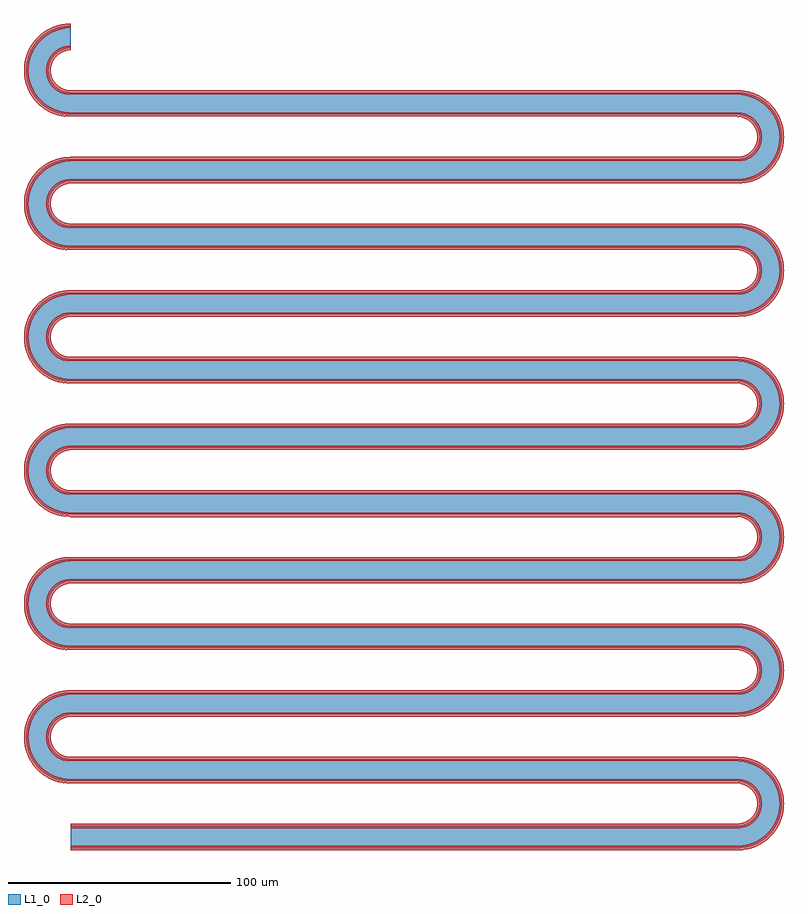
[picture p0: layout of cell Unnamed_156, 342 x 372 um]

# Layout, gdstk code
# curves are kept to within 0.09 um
import gdstk
lib = gdstk.Library(unit=1e-6, precision=1e-09)
def P(c, l, *ps):  # polygons
    for p in ps: c.add(gdstk.Polygon(p, *l))
L1_0 = (1, 0)
L2_0 = (2, 0)

unnamed_156 = lib.new_cell('Unnamed_156')
P(unnamed_156, L1_0, [(0,-5),(0,5),(300.754,5.028),(302.672,5.363),(304.572,6.106),(306.184,7.141),(307.569,8.464),(308.692,10.055),(309.505,11.892),(309.931,13.823),(309.973,15.738),(309.641,17.656),(309.013,19.333),(308.059,20.921),(306.851,22.285),(305.39,23.423),(303.714,24.285),(301.937,24.811),(300.22,24.998),(-0.126,25),(-3.007,25.227),(-6.485,26.08),(-9.534,27.418),(-12.368,29.282),(-14.804,31.552),(-16.864,34.247),(-18.463,37.31),(-19.497,40.541),(-19.97,43.9),(-19.876,47.228),(-19.178,50.676),(-17.915,53.892),(-16.08,56.893),(-13.884,59.396),(-11.252,61.535),(-8.238,63.225),(-5.04,64.355),(-2.634,64.826),(-0.126,65),(300.409,65.008),(302.428,65.299),(304.347,65.994),(306.06,67.045),(307.569,68.464),(308.738,70.137),(309.534,71.982),(309.945,73.948),(309.945,76.052),(309.607,77.778),(308.971,79.418),(308.059,80.921),(306.851,82.285),(305.469,83.372),(303.917,84.201),(302.184,84.759),(300.409,84.992),(-0.126,85),(-2.634,85.174),(-5.04,85.645),(-7.37,86.407),(-9.666,87.491),(315.62,87.491),(316.83,85.806),(317.859,84.004),(318.673,82.164),(319.331,80.131),(319.787,77.914),(319.985,75.786),(319.95,73.586),(319.718,71.651),(319.248,69.566),(318.511,67.426),(317.597,65.494),(316.482,63.671),(315.096,61.881),(313.564,60.302),(311.817,58.864),(310.082,57.727),(308.238,56.775),(306.246,56),(304.183,55.442),(302.009,55.101),(300.126,55),(-0.22,54.998),(-1.907,54.817),(-3.597,54.331),(-5.122,53.589),(-6.524,52.579),(-7.691,51.392),(-8.692,49.945),(-9.424,48.346),(-9.859,46.675),(-9.99,44.544),(-9.681,42.495),(-8.901,40.442),(-7.751,38.681),(-6.307,37.239),(-4.572,36.106),(-2.672,35.363),(-0.409,35.008),(300.126,35),(303.318,34.723),(306.485,33.92),(309.589,32.552),(312.417,30.679),(314.972,28.261),(316.998,25.54),(318.511,22.574),(319.538,19.275),(319.985,15.786),(319.822,12.335),(319.105,9.083),(317.859,5.996),(316.08,3.107),(313.884,0.604),(311.252,-1.535),(308.295,-3.199),(305.161,-4.323),(302.634,-4.826),(300.126,-5)],
  [(-9.666,87.491),(-12.368,89.282),(-14.634,91.367),(-16.553,93.774),(-18.133,96.562),(-19.248,99.566),(-19.854,102.584),(-19.993,105.535),(-19.663,108.659),(-18.889,111.574),(-17.597,114.506),(-16.005,116.994),(-13.884,119.396),(-11.562,121.32),(-8.807,122.957),(-5.947,124.096),(-3.007,124.773),(-0.126,125),(300.409,125.008),(302.367,125.284),(304.205,125.927),(305.806,126.858),(307.317,128.183),(308.499,129.73),(309.348,131.447),(309.859,133.325),(309.995,135.33),(309.776,137.107),(309.17,138.99),(308.259,140.639),(307.077,142.066),(305.574,143.303),(303.917,144.201),(302.184,144.759),(300.252,144.997),(-0.126,145),(-2.759,145.191),(-5.525,145.778),(-8.238,146.775),(-10.779,148.153),(-13,149.801),(-14.972,151.739),(-16.727,154.036),(-18.133,156.562),(-19.142,159.204),(-19.768,161.961),(-19.999,164.78),(-19.822,167.665),(-19.248,170.434),(-18.289,173.094),(-16.998,175.54),(-15.301,177.88),(-13.237,179.993),(313.221,179.993),(310.352,177.887),(307.252,176.361),(303.937,175.391),(300.314,175.002),(-0.094,175),(-2.276,174.738),(-4.033,174.151),(-5.521,173.338),(-6.851,172.285),(-8.059,170.921),(-9.013,169.333),(-9.607,167.778),(-9.945,166.052),(-9.973,164.262),(-9.697,162.556),(-9.08,160.809),(-8.223,159.309),(-7.077,157.934),(-5.704,156.786),(-4.205,155.927),(-2.459,155.307),(-0.754,155.028),(300.126,155),(302.634,154.826),(304.49,154.49),(306.485,153.92),(309.864,152.399),(311.562,151.32),(313.143,150.076),(315.737,147.343),(316.864,145.753),(317.859,144.004),(318.673,142.164),(319.248,140.434),(319.663,138.659),(319.931,136.665),(319.999,134.78),(319.876,132.772),(319.178,129.324),(317.915,126.108),(316.08,123.107),(313.884,120.604),(311.252,118.465),(308.238,116.775),(305.04,115.645),(301.759,115.077),(-0.409,114.992),(-2.367,114.716),(-4.205,114.073),(-5.806,113.142),(-7.317,111.817),(-8.499,110.27),(-9.348,108.553),(-9.859,106.675),(-9.996,104.701),(-9.776,102.893),(-9.195,101.068),(-8.364,99.518),(-7.209,98.069),(-5.781,96.84),(-4.205,95.927),(-2.428,95.299),(-0.534,95.014),(300.503,94.994),(302.634,94.826),(304.796,94.417),(306.84,93.794),(308.92,92.901),(310.885,91.779),(312.564,90.561),(314.242,89.042),(315.62,87.491)],
  [(-13.237,179.993),(-10.352,182.113),(-7.252,183.639),(-3.937,184.609),(-0.314,184.998),(300.094,185),(302.276,185.262),(304.033,185.849),(305.521,186.662),(306.851,187.715),(308.059,189.079),(309.013,190.667),(309.607,192.222),(309.945,193.948),(309.973,195.738),(309.697,197.444),(309.08,199.191),(308.223,200.691),(307.077,202.066),(305.704,203.214),(304.205,204.073),(302.459,204.693),(300.754,204.972),(-0.126,205),(-2.634,205.174),(-4.49,205.51),(-6.485,206.08),(-9.864,207.601),(-11.562,208.68),(-13.143,209.924),(-15.737,212.657),(-16.864,214.247),(-17.859,215.996),(-18.673,217.836),(-19.248,219.566),(-19.663,221.341),(-19.931,223.335),(-19.999,225.22),(-19.876,227.228),(-19.178,230.676),(-17.915,233.892),(-16.08,236.893),(-13.884,239.396),(-11.252,241.535),(-8.238,243.225),(-5.04,244.355),(-1.759,244.923),(300.409,245.008),(302.367,245.284),(304.205,245.927),(305.806,246.858),(307.317,248.183),(308.499,249.73),(309.348,251.447),(309.859,253.325),(309.996,255.299),(309.776,257.107),(309.195,258.932),(308.364,260.482),(307.209,261.931),(305.781,263.16),(304.205,264.073),(302.428,264.701),(300.534,264.986),(-0.503,265.006),(-2.634,265.174),(-4.796,265.583),(-6.84,266.206),(-8.92,267.099),(-10.885,268.221),(-12.564,269.439),(-14.242,270.958),(-15.605,272.491),(309.699,272.491),(311.562,271.32),(313.143,270.076),(314.634,268.633),(316.005,266.994),(317.129,265.325),(318.133,263.438),(318.889,261.574),(319.454,259.643),(319.822,257.665),(319.993,255.535),(319.941,253.461),(319.663,251.341),(319.178,249.324),(318.463,247.31),(317.476,245.274),(316.338,243.464),(314.972,241.739),(313.564,240.302),(311.817,238.864),(310.082,237.727),(308.238,236.775),(306.246,236),(304.183,235.442),(302.009,235.101),(300.126,235),(-0.22,234.998),(-1.937,234.811),(-3.714,234.285),(-5.39,233.423),(-6.851,232.285),(-8.059,230.921),(-9.013,229.333),(-9.641,227.656),(-9.973,225.738),(-9.931,223.823),(-9.475,221.802),(-8.676,220.027),(-7.507,218.393),(-6.06,217.045),(-4.347,215.994),(-2.428,215.299),(-0.409,215.008),(300.126,215),(302.759,214.809),(305.525,214.222),(308.238,213.225),(310.779,211.847),(313,210.199),(314.972,208.261),(316.727,205.964),(318.133,203.438),(319.142,200.796),(319.768,198.039),(319.999,195.22),(319.822,192.335),(319.248,189.566),(318.238,186.791),(316.864,184.247),(315.178,181.976),(313.221,179.993)],
  [(-15.605,272.491),(-17.129,274.675),(-18.364,277.078),(-19.265,279.626),(-19.796,282.148),(-19.999,284.78),(-19.854,287.416),(-19.363,290.009),(-18.511,292.574),(-17.321,295),(-15.853,297.194),(-14.242,299.042),(-12.219,300.834),(-10.027,302.305),(-7.603,303.499),(-5.04,304.355),(-2.447,304.85),(-0.126,305),(300.22,305.002),(301.937,305.189),(303.714,305.715),(305.23,306.476),(306.666,307.545),(307.888,308.853),(308.843,310.33),(309.534,311.982),(309.907,313.636),(309.973,315.738),(309.607,317.778),(308.843,319.67),(307.671,321.416),(306.184,322.859),(304.347,324.006),(302.428,324.701),(300.409,324.992),(-0.126,325),(-3.318,325.277),(-6.663,326.142),(-9.864,327.601),(-12.856,329.679),(-15.341,332.168),(-17.383,335.109),(-18.889,338.426),(-19.768,341.961),(-19.996,345.409),(-19.603,348.967),(-18.581,352.399),(-16.998,355.54),(-14.888,358.355),(-12.368,360.718),(-9.367,362.671),(-6.067,364.058),(-2.634,364.826),(0,365),(0,355),(-1.937,354.811),(-3.917,354.201),(-5.652,353.25),(-7.209,351.931),(-8.449,350.35),(-9.348,348.553),(-9.889,346.488),(-9.99,344.544),(-9.776,342.893),(-9.279,341.271),(-8.499,339.73),(-7.423,338.299),(-6.184,337.141),(-4.711,336.179),(-3.093,335.49),(-1.442,335.104),(-0.094,335),(301.006,334.975),(304.429,334.504),(307.661,333.475),(310.779,331.847),(313.564,329.698),(315.853,327.194),(317.715,324.284),(319.048,321.097),(319.822,317.665),(319.993,315.535),(319.95,313.586),(319.718,311.651),(319.265,309.626),(318.627,307.718),(317.802,305.884),(316.83,304.194),(315.62,302.509),(314.374,301.093),(312.856,299.679),(311.252,298.465),(309.534,297.418),(307.661,296.525),(305.826,295.867),(303.69,295.343),(301.759,295.077),(-0.22,294.998),(-1.907,294.817),(-3.568,294.342),(-5.041,293.637),(-6.38,292.701),(-7.569,291.536),(-8.581,290.136),(-9.314,288.641),(-9.776,287.107),(-10,284.921),(-9.748,282.77),(-9.013,280.667),(-7.888,278.853),(-6.38,277.299),(-4.572,276.106),(-2.672,275.363),(-0.409,275.008),(300.126,275),(302.634,274.826),(305.04,274.355),(307.37,273.593),(309.699,272.491)])
P(unnamed_156, L2_0, [(0,-6),(0,-4),(300.119,-4),(302.561,-3.827),(304.961,-3.341),(308.043,-2.214),(310.788,-0.641),(313.276,1.407),(315.417,3.895),(317.072,6.66),(318.236,9.665),(318.882,12.883),(318.968,16.105),(318.495,19.353),(317.47,22.471),(315.956,25.316),(314.064,27.776),(311.702,29.969),(309.057,31.703),(306.104,32.993),(302.975,33.766),(300.119,34),(-0.45,34.009),(-2.738,34.346),(-4.999,35.201),(-6.937,36.463),(-8.548,38.076),(-9.807,40.017),(-10.667,42.312),(-10.993,44.602),(-10.821,46.978),(-10.343,48.746),(-9.544,50.47),(-8.46,52.031),(-7.124,53.382),(-5.575,54.483),(-3.957,55.264),(-2.131,55.792),(-0.346,55.995),(300.119,56),(302.028,56.108),(303.974,56.42),(305.82,56.913),(307.608,57.59),(309.37,58.471),(311.081,59.566),(312.665,60.836),(314.064,62.224),(315.205,63.606),(316.66,65.864),(317.803,68.361),(318.574,70.997),(318.961,73.776),(318.934,76.582),(318.495,79.353),(317.608,82.14),(316.454,84.5),(318.728,84.5),(319.583,82.584),(320.263,80.515),(320.736,78.321),(320.972,76.089),(320.961,73.713),(320.681,71.353),(320.174,69.167),(319.486,67.17),(318.508,65.077),(317.306,63.104),(315.808,61.175),(314.291,59.612),(312.567,58.175),(310.7,56.93),(308.71,55.891),(306.558,55.05),(304.392,54.464),(302.11,54.106),(300.132,54),(-0.283,53.996),(-1.827,53.813),(-3.237,53.398),(-4.61,52.73),(-5.893,51.803),(-6.976,50.687),(-7.85,49.402),(-8.491,47.985),(-8.878,46.479),(-8.991,44.59),(-8.677,42.609),(-7.972,40.822),(-6.94,39.269),(-5.61,37.962),(-3.989,36.932),(-2.186,36.269),(-0.283,36.004),(300.132,36),(303.354,35.731),(306.809,34.866),(310.01,33.461),(313.09,31.421),(315.677,28.973),(317.813,26.123),(319.386,23.074),(320.457,19.746),(320.972,16.089),(320.862,12.595),(320.137,9.04),(318.869,5.782),(317.04,2.726),(314.767,0.069),(312.032,-2.212),(308.95,-3.997),(305.483,-5.272),(302.7,-5.826),(300.132,-6)],
  [(316.454,84.5),(315.169,86.442),(313.53,88.34),(311.702,89.969),(309.783,91.288),(307.498,92.458),(305.249,93.261),(302.975,93.766),(300.597,93.991),(-0.104,94),(-2.738,94.346),(-4.531,94.976),(-6.16,95.886),(-7.636,97.082),(-8.926,98.571),(-9.884,100.172),(-10.577,101.978),(-10.932,103.775),(-10.977,105.709),(-10.667,107.688),(-10.087,109.389),(-9.238,110.972),(-8.072,112.473),(-6.693,113.73),(-4.999,114.799),(-3.271,115.503),(-1.483,115.9),(-0.104,116),(301.254,116.041),(303.093,116.253),(304.961,116.659),(306.778,117.25),(308.581,118.048),(310.341,119.06),(311.796,120.105),(313.276,121.407),(314.536,122.764),(315.658,124.237),(316.66,125.864),(317.47,127.529),(318.15,129.379),(318.646,131.348),(318.913,133.18),(319,135.09),(318.895,136.998),(318.269,140.22),(317.15,143.178),(315.521,145.959),(313.361,148.509),(310.837,150.607),(308.043,152.214),(304.961,153.341),(301.79,153.916),(-0.519,154.012),(-2.972,154.409),(-5.183,155.297),(-7.124,156.618),(-8.844,158.459),(-10.087,160.611),(-10.802,162.92),(-10.998,165.225),(-10.667,167.688),(-9.807,169.983),(-8.46,172.031),(-6.693,173.73),(-4.594,174.995),(306.388,174.995),(303.354,174.269),(300.132,174),(-0.085,174),(-1.993,173.777),(-3.552,173.27),(-4.922,172.535),(-6.125,171.595),(-7.253,170.329),(-8.062,169.001),(-8.654,167.473),(-8.959,165.862),(-8.969,164.251),(-8.699,162.691),(-8.148,161.177),(-7.385,159.855),(-6.309,158.581),(-5.04,157.543),(-3.63,156.764),(-2.103,156.249),(-0.509,156.014),(300.132,156),(302.7,155.826),(304.65,155.479),(306.684,154.908),(308.469,154.217),(310.357,153.269),(312.032,152.212),(313.65,150.959),(315.138,149.555),(316.442,148.064),(317.671,146.346),(318.692,144.572),(319.535,142.707),(320.174,140.833),(320.646,138.842),(320.922,136.814),(320.999,134.769),(320.884,132.792),(320.174,129.167),(318.898,125.842),(317.117,122.833),(314.767,120.069),(312.032,117.788),(308.71,115.891),(305.355,114.694),(301.847,114.081),(-0.283,113.996),(-2.103,113.751),(-3.836,113.142),(-5.454,112.16),(-6.775,110.925),(-7.85,109.402),(-8.589,107.689),(-8.959,105.862),(-8.941,103.969),(-8.614,102.392),(-8.024,100.923),(-7.185,99.58),(-6.125,98.405),(-4.851,97.419),(-3.474,96.697),(-1.938,96.211),(-0.283,96.004),(301.254,95.963),(304.392,95.536),(307.43,94.642),(310.242,93.333),(312.725,91.706),(314.483,90.207),(316.066,88.524),(317.491,86.622),(318.692,84.572)],
  [(-4.594,174.995),(-2.402,175.735),(-0.104,176),(300.119,176),(302.502,176.165),(304.788,176.613),(307.881,177.711),(310.64,179.258),(313.017,181.159),(315.205,183.606),(316.939,186.393),(318.15,189.379),(318.831,192.468),(318.983,195.806),(318.574,199.003),(317.608,202.14),(316.148,205.013),(314.144,207.687),(311.796,209.895),(309.057,211.703),(306.104,212.993),(302.975,213.766),(300.119,214),(-0.45,214.009),(-2.738,214.346),(-4.999,215.201),(-6.937,216.463),(-8.548,218.076),(-9.807,220.017),(-10.667,222.312),(-10.993,224.602),(-10.821,226.978),(-10.343,228.746),(-9.544,230.47),(-8.46,232.031),(-7.124,233.382),(-5.575,234.483),(-3.957,235.264),(-2.131,235.792),(-0.346,235.995),(301.79,236.084),(304.149,236.458),(306.442,237.125),(308.687,238.102),(310.837,239.393),(312.798,240.956),(314.536,242.764),(315.956,244.684),(317.15,246.822),(318.059,249.095),(318.646,251.348),(318.961,253.776),(318.957,256.284),(318.646,258.652),(317.964,261.189),(317.046,263.393),(315.835,265.5),(318.187,265.5),(319.486,262.83),(320.331,260.26),(320.795,257.929),(320.989,255.693),(320.943,253.449),(320.658,251.223),(320.137,249.04),(319.386,246.926),(318.445,244.961),(317.231,242.995),(315.808,241.175),(314.291,239.612),(312.567,238.175),(310.7,236.93),(308.71,235.891),(306.558,235.05),(304.392,234.464),(302.11,234.106),(300.132,234),(-0.283,233.996),(-1.827,233.813),(-3.237,233.398),(-4.61,232.73),(-5.893,231.803),(-6.976,230.687),(-7.85,229.402),(-8.491,227.985),(-8.878,226.479),(-8.991,224.59),(-8.677,222.609),(-7.972,220.822),(-6.94,219.269),(-5.61,217.962),(-3.989,216.932),(-2.186,216.269),(-0.283,216.004),(300.132,216),(303.354,215.731),(306.809,214.866),(310.01,213.461),(312.882,211.585),(315.5,209.169),(317.671,206.346),(319.283,203.318),(320.411,199.939),(320.943,196.551),(320.91,193.055),(320.263,189.485),(319.095,186.26),(317.38,183.213),(315.184,180.493),(312.567,178.175),(309.543,176.293),(306.388,174.995)],
  [(315.835,265.5),(314.536,267.236),(312.886,268.963),(311.081,270.434),(309.162,271.645),(307.112,272.619),(304.961,273.341),(302.739,273.802),(300.597,273.991),(-0.104,274),(-2.671,274.329),(-4.531,274.976),(-6.16,275.886),(-7.611,277.058),(-8.844,278.459),(-9.807,280.017),(-10.508,281.746),(-10.911,283.603),(-10.989,285.501),(-10.731,287.419),(-10.168,289.198),(-9.294,290.885),(-8.119,292.422),(-6.693,293.73),(-5.183,294.703),(-3.402,295.461),(-1.483,295.9),(-0.104,296),(301.254,296.041),(303.093,296.253),(304.961,296.659),(306.778,297.25),(308.581,298.048),(310.341,299.06),(311.796,300.105),(313.276,301.407),(314.536,302.764),(315.658,304.237),(316.66,305.864),(317.47,307.529),(318.15,309.379),(318.646,311.348),(318.913,313.18),(319,315.09),(318.895,316.998),(318.269,320.22),(317.15,323.178),(315.521,325.959),(313.361,328.509),(310.837,330.607),(308.043,332.214),(304.961,333.341),(301.79,333.916),(-0.519,334.012),(-2.972,334.409),(-5.183,335.297),(-7.124,336.618),(-8.844,338.459),(-10.087,340.611),(-10.802,342.92),(-10.998,345.225),(-10.667,347.688),(-10.045,349.484),(-9.143,351.117),(-8.001,352.549),(-6.693,353.73),(-5.183,354.703),(-3.567,355.406),(-1.825,355.848),(0,356),(0,354),(-1.993,353.777),(-3.836,353.142),(-5.521,352.108),(-6.94,350.731),(-7.766,349.549),(-8.443,348.118),(-8.838,346.702),(-8.999,345.156),(-8.878,343.521),(-8.393,341.75),(-7.589,340.161),(-6.566,338.844),(-5.295,337.722),(-3.759,336.822),(-2.103,336.249),(-0.34,336.006),(301.847,335.919),(305.355,335.306),(308.71,334.109),(311.814,332.362),(314.626,330.069),(316.962,327.381),(318.811,324.336),(320.137,320.96),(320.862,317.405),(320.996,315.429),(320.933,313.318),(320.658,311.223),(320.21,309.294),(319.559,307.354),(318.722,305.487),(317.707,303.71),(316.524,302.04),(315.184,300.493),(313.75,299.127),(312.14,297.864),(310.357,296.731),(308.469,295.783),(306.684,295.092),(304.65,294.521),(302.7,294.174),(300.132,294),(-0.509,293.986),(-2.103,293.751),(-3.63,293.236),(-5.04,292.457),(-6.248,291.478),(-7.303,290.26),(-8.124,288.874),(-8.677,287.391),(-8.959,285.862),(-8.969,284.251),(-8.699,282.691),(-8.148,281.177),(-7.385,279.855),(-6.309,278.581),(-5.087,277.575),(-3.759,276.822),(-2.186,276.269),(-0.085,276),(300.66,275.99),(303.614,275.687),(306.558,274.95),(309.484,273.737),(312.032,272.212),(313.75,270.873),(315.5,269.169),(316.962,267.381),(318.187,265.5)],
  [(0,4),(0,6),(300.085,6),(301.993,6.223),(303.552,6.73),(304.922,7.465),(306.125,8.405),(307.253,9.671),(308.062,10.999),(308.654,12.527),(308.959,14.138),(308.969,15.749),(308.699,17.309),(308.148,18.823),(307.385,20.145),(306.309,21.419),(305.04,22.457),(303.63,23.236),(302.103,23.751),(300.509,23.986),(-0.132,24),(-2.7,24.174),(-4.65,24.521),(-6.684,25.092),(-8.469,25.783),(-10.357,26.731),(-12.032,27.788),(-13.65,29.041),(-15.138,30.445),(-16.442,31.936),(-17.671,33.654),(-18.692,35.428),(-19.486,37.17),(-20.137,39.04),(-20.646,41.158),(-20.91,43.055),(-20.91,46.945),(-20.263,50.515),(-18.983,53.98),(-17.231,57.005),(-14.861,59.838),(-12.032,62.212),(-8.95,63.997),(-5.483,65.272),(-1.847,65.919),(300.283,66.004),(302.186,66.269),(304.039,66.957),(305.676,68.015),(307.047,69.401),(308.087,71.05),(308.748,72.883),(308.999,74.844),(308.827,76.758),(308.393,78.25),(307.723,79.622),(306.849,80.839),(305.742,81.931),(304.537,82.773),(303.105,83.448),(301.66,83.846),(300.198,83.998),(-1.254,84.037),(-3.744,84.336),(-6.307,84.969),(-8.71,85.891),(-11.039,87.135),(-13.193,88.661),(-15.138,90.445),(-16.726,92.301),(-18.187,94.5),(-15.835,94.5),(-14.381,92.582),(-12.665,90.836),(-10.64,89.258),(-8.367,87.941),(-6.442,87.125),(-4.556,86.554),(-2.561,86.173),(-0.597,86.009),(300.519,85.988),(302.301,85.757),(303.957,85.264),(305.575,84.483),(307.018,83.471),(308.326,82.189),(309.349,80.797),(310.168,79.198),(310.723,77.453),(311,75.086),(310.746,72.649),(309.988,70.39),(308.719,68.293),(307.018,66.529),(304.999,65.201),(302.738,64.346),(300.45,64.009),(-1.79,63.916),(-4.961,63.341),(-8.043,62.214),(-10.788,60.641),(-13.276,58.593),(-15.347,56.202),(-17.072,53.34),(-18.236,50.335),(-18.882,47.117),(-18.999,45.209),(-18.924,43.299),(-18.646,41.348),(-18.185,39.494),(-17.516,37.639),(-16.717,35.969),(-15.658,34.237),(-14.536,32.764),(-13.276,31.407),(-11.796,30.105),(-10.341,29.06),(-8.581,28.048),(-6.778,27.25),(-4.961,26.659),(-3.093,26.253),(-1.254,26.041),(300.104,26),(301.483,25.9),(303.402,25.461),(305.183,24.703),(306.693,23.73),(308.119,22.422),(309.294,20.885),(310.168,19.198),(310.731,17.419),(310.989,15.501),(310.911,13.603),(310.508,11.746),(309.807,10.017),(308.761,8.348),(307.511,6.963),(305.929,5.734),(304.214,4.839),(302.436,4.273),(300.104,4)],
  [(-18.187,94.5),(-19.309,96.743),(-20.21,99.294),(-20.776,101.94),(-20.993,104.439),(-20.91,106.945),(-20.486,109.618),(-19.745,112.151),(-18.722,114.513),(-17.38,116.787),(-15.808,118.825),(-13.998,120.655),(-12.032,122.212),(-9.719,123.616),(-7.43,124.642),(-4.907,125.419),(-2.372,125.866),(-0.132,126),(300.283,126.004),(301.938,126.211),(303.474,126.697),(304.851,127.419),(306.125,128.405),(307.185,129.58),(308.024,130.923),(308.614,132.392),(308.931,133.885),(308.969,135.749),(308.614,137.608),(307.905,139.303),(306.867,140.818),(305.521,142.108),(303.938,143.093),(302.186,143.731),(300.283,143.996),(-0.132,144),(-3.354,144.269),(-6.809,145.134),(-10.01,146.539),(-12.882,148.415),(-15.5,150.831),(-17.671,153.654),(-19.283,156.682),(-20.411,160.061),(-20.943,163.449),(-20.91,166.945),(-20.263,170.515),(-19.095,173.74),(-17.38,176.787),(-15.184,179.507),(-12.567,181.825),(-9.543,183.707),(-6.388,185.005),(304.594,185.005),(302.402,184.265),(300.104,184),(-0.119,184),(-2.739,183.802),(-5.249,183.261),(-8.367,182.059),(-11.081,180.434),(-13.53,178.34),(-15.59,175.861),(-17.15,173.178),(-18.269,170.22),(-18.895,166.998),(-18.961,163.776),(-18.495,160.647),(-17.47,157.529),(-15.956,154.684),(-14.064,152.224),(-11.702,150.031),(-9.057,148.297),(-6.104,147.007),(-2.975,146.234),(-0.119,146),(300.45,145.991),(302.738,145.654),(304.875,144.861),(306.802,143.645),(308.46,142.031),(309.727,140.137),(310.596,137.955),(310.975,135.743),(310.888,133.431),(310.466,131.614),(309.727,129.863),(308.719,128.293),(307.384,126.846),(305.929,125.734),(304.15,124.813),(302.301,124.243),(300.346,124.005),(-0.119,124),(-2.206,123.872),(-4.324,123.502),(-6.611,122.813),(-8.687,121.898),(-10.64,120.742),(-12.35,119.439),(-14.064,117.776),(-15.452,116.056),(-16.66,114.136),(-17.718,111.862),(-18.495,109.353),(-18.913,106.82),(-18.988,104.313),(-18.722,101.76),(-18.096,99.208),(-17.15,96.822),(-15.835,94.5)],
  [(-6.388,185.005),(-3.354,185.731),(-0.132,186),(300.085,186),(301.993,186.223),(303.552,186.73),(304.922,187.465),(306.125,188.405),(307.253,189.671),(308.062,190.999),(308.654,192.527),(308.959,194.138),(308.969,195.749),(308.699,197.309),(308.148,198.823),(307.385,200.145),(306.309,201.419),(305.04,202.457),(303.63,203.236),(302.103,203.751),(300.509,203.986),(-0.132,204),(-2.7,204.174),(-4.65,204.521),(-6.684,205.092),(-8.469,205.783),(-10.357,206.731),(-12.032,207.788),(-13.65,209.041),(-15.138,210.445),(-16.442,211.936),(-17.671,213.654),(-18.692,215.428),(-19.486,217.17),(-20.137,219.04),(-20.646,221.158),(-20.91,223.055),(-21,225.099),(-20.897,227.077),(-20.228,230.642),(-18.955,234.039),(-17.117,237.167),(-14.767,239.931),(-12.032,242.212),(-8.71,244.109),(-5.355,245.306),(-1.847,245.919),(300.283,246.004),(302.186,246.269),(303.938,246.907),(305.521,247.892),(306.867,249.182),(307.932,250.747),(308.654,252.527),(308.969,254.251),(308.92,256.199),(308.572,257.743),(307.932,259.253),(307.047,260.599),(305.957,261.747),(304.683,262.686),(303.369,263.346),(301.827,263.813),(300.283,263.996),(-1.254,264.037),(-4.004,264.385),(-6.684,265.092),(-9.129,266.088),(-11.595,267.491),(-13.75,269.127),(-15.677,271.027),(-17.306,273.104),(-18.728,275.5),(-16.454,275.5),(-15.024,273.368),(-13.276,271.407),(-11.274,269.706),(-9.057,268.297),(-7.223,267.426),(-5.249,266.739),(-3.27,266.283),(-1.075,266.03),(300.277,265.997),(302.131,265.792),(303.86,265.301),(305.515,264.518),(307.018,263.471),(308.326,262.189),(309.349,260.797),(310.168,259.198),(310.731,257.419),(311,255.086),(310.746,252.649),(309.988,250.39),(308.719,248.293),(307.018,246.529),(304.999,245.201),(302.738,244.346),(300.45,244.009),(-1.79,243.916),(-4.961,243.341),(-8.151,242.163),(-10.983,240.504),(-13.53,238.34),(-15.59,235.861),(-17.201,233.07),(-18.349,229.932),(-18.924,226.701),(-18.999,224.791),(-18.882,222.883),(-18.574,220.997),(-18.096,219.208),(-17.47,217.529),(-16.573,215.708),(-15.59,214.139),(-14.381,212.582),(-11.702,210.031),(-10.089,208.9),(-8.474,207.994),(-6.778,207.25),(-4.961,206.659),(-3.093,206.253),(-1.254,206.041),(300.104,206),(301.414,205.909),(303.205,205.523),(304.875,204.861),(306.331,203.996),(307.711,202.845),(308.844,201.541),(309.807,199.983),(310.466,198.386),(310.878,196.637),(311,194.914),(310.845,193.158),(310.389,191.384),(309.662,189.741),(308.719,188.293),(307.511,186.963),(306.16,185.886),(304.594,185.005)],
  [(-18.728,275.5),(-19.745,277.849),(-20.442,280.189),(-20.877,282.726),(-20.999,285.231),(-20.813,287.798),(-20.331,290.26),(-19.559,292.646),(-18.508,294.923),(-17.117,297.167),(-15.5,299.169),(-13.75,300.873),(-11.705,302.436),(-9.484,303.737),(-7.182,304.734),(-4.907,305.419),(-2.372,305.866),(-0.132,306),(300.283,306.004),(301.827,306.187),(303.237,306.602),(304.61,307.27),(305.893,308.197),(306.976,309.313),(307.85,310.598),(308.491,312.015),(308.878,313.521),(308.991,315.41),(308.677,317.391),(307.972,319.178),(306.94,320.731),(305.61,322.038),(303.989,323.068),(302.186,323.731),(300.283,323.996),(-0.132,324),(-3.354,324.269),(-6.809,325.134),(-10.357,326.731),(-13.499,328.913),(-16.193,331.628),(-18.285,334.672),(-19.855,338.16),(-20.736,341.679),(-20.996,345.429),(-20.596,349.101),(-19.559,352.646),(-17.917,355.954),(-15.677,358.973),(-12.882,361.585),(-9.719,363.616),(-6.307,365.031),(-2.7,365.826),(0,366),(0,364),(-2.206,363.872),(-4.324,363.502),(-6.33,362.915),(-8.367,362.059),(-10.341,360.94),(-11.983,359.745),(-13.53,358.34),(-15.024,356.632),(-16.717,354.031),(-17.964,351.189),(-18.732,348.182),(-19,345.09),(-18.732,341.818),(-17.885,338.586),(-16.425,335.448),(-14.536,332.764),(-12.213,330.445),(-9.37,328.471),(-6.33,327.085),(-2.975,326.234),(-0.119,326),(300.346,325.995),(302.301,325.757),(304.15,325.187),(305.929,324.266),(307.384,323.154),(308.719,321.707),(309.807,319.983),(310.548,318.122),(310.924,316.294),(310.965,314.119),(310.548,311.878),(309.662,309.741),(308.371,307.863),(306.693,306.27),(304.875,305.139),(302.738,304.346),(300.45,304.009),(-0.119,304),(-2.265,303.865),(-4.324,303.502),(-6.442,302.875),(-8.474,302.006),(-10.341,300.94),(-12.213,299.555),(-13.82,298.039),(-15.205,296.394),(-16.425,294.552),(-17.516,292.361),(-18.349,289.932),(-18.831,287.532),(-19,285.09),(-18.831,282.468),(-18.349,280.068),(-17.608,277.86),(-16.454,275.5)])

lib.write_gds('Unnamed_156.gds')
